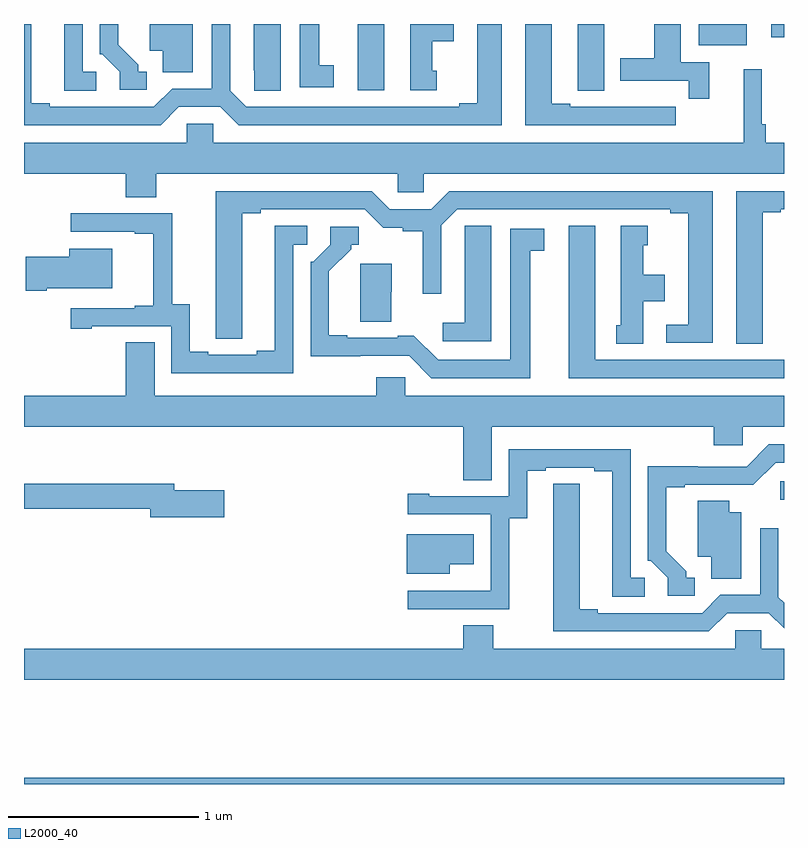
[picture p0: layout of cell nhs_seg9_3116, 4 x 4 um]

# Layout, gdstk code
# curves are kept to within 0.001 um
import gdstk
lib = gdstk.Library(unit=1e-6, precision=1e-09)
def R(c, l, rs):  # rectangles x0, y0, x1, y1
    for r in rs: c.add(gdstk.rectangle(r[:2], r[2:], *l))
def P(c, l, *ps):  # polygons
    for p in ps: c.add(gdstk.Polygon(p, *l))
L2000_40 = (2000, 40)

nhs_seg9_3116 = lib.new_cell('nhs_seg9_3116')
R(nhs_seg9_3116, L2000_40, [(289,1234.5,293,1234.532), (292.98,1235.996,293,1236.093), (290.756,1238.151,290.896,1238.5), (292.55,1238.387,292.804,1238.5), (292.934,1238.43,293,1238.5)])
P(nhs_seg9_3116, L2000_40, [(289.815,1238.064),(290.033,1238.064),(290.129,1237.968),(291.514,1237.968),(291.514,1238.5),(291.386,1238.5),(291.386,1238.084),(291.29,1238.084),(291.29,1238.064),(290.169,1238.064),(290.085,1238.148),(290.085,1238.5),(289.989,1238.5),(289.989,1238.16),(289.779,1238.16),(289.683,1238.064),(289.135,1238.064),(289.135,1238.084),(289.039,1238.084),(289.039,1238.5),(289,1238.5),(289,1237.968),(289.719,1237.968)],
  [(290.35,1238.5),(290.21,1238.5),(290.21,1238.257),(290.211,1238.257),(290.211,1238.149),(290.35,1238.149)],
  [(292.607,1238.298),(292.456,1238.298),(292.456,1238.5),(292.316,1238.5),(292.316,1238.319),(292.139,1238.319),(292.139,1238.202),(292.498,1238.202),(292.498,1238.106),(292.607,1238.106)],
  [(292.054,1238.5),(291.914,1238.5),(291.914,1238.257),(291.915,1238.257),(291.915,1238.149),(292.054,1238.149)],
  [(289.888,1238.5),(289.661,1238.5),(289.661,1238.36),(289.73,1238.36),(289.73,1238.245),(289.888,1238.245)],
  [(289.381,1238.25),(289.308,1238.25),(289.308,1238.5),(289.211,1238.5),(289.211,1238.149),(289.381,1238.149)],
  [(290.629,1238.282),(290.554,1238.282),(290.554,1238.5),(290.45,1238.5),(290.45,1238.166),(290.629,1238.166)],
  [(289.645,1238.25),(289.6,1238.25),(289.6,1238.285),(289.495,1238.39),(289.495,1238.5),(289.398,1238.5),(289.398,1238.34),(289.413,1238.34),(289.503,1238.25),(289.503,1238.154),(289.645,1238.154)],
  [(292.429,1238.064),(292.316,1238.064),(292.316,1238.065),(292.15,1238.065),(292.15,1238.064),(291.874,1238.064),(291.874,1238.079),(291.778,1238.079),(291.778,1238.5),(291.638,1238.5),(291.638,1237.968),(292.429,1237.968)],
  [(291.172,1238.253),(291.148,1238.253),(291.148,1238.408),(291.262,1238.408),(291.262,1238.5),(291.032,1238.5),(291.032,1238.151),(291.172,1238.151)],
  [(289.695,1237.712),(290.967,1237.712),(290.967,1237.614),(291.105,1237.614),(291.105,1237.712),(293,1237.712),(293,1237.876),(292.904,1237.876),(292.904,1237.972),(292.884,1237.972),(292.884,1238.263),(292.787,1238.263),(292.787,1237.876),(289.995,1237.876),(289.995,1237.974),(289.857,1237.974),(289.857,1237.876),(289,1237.876),(289,1237.712),(289.535,1237.712),(289.535,1237.588),(289.695,1237.588)],
  [(292.888,1237.509),(292.984,1237.509),(292.984,1237.524),(293,1237.524),(293,1237.62),(292.748,1237.62),(292.748,1236.817),(292.888,1236.817)],
  [(292.624,1237.62),(291.239,1237.62),(291.143,1237.524),(290.925,1237.524),(290.829,1237.62),(290.009,1237.62),(290.01,1236.844),(290.149,1236.844),(290.149,1237.504),(290.245,1237.504),(290.245,1237.524),(290.793,1237.524),(290.891,1237.427),(290.994,1237.427),(290.994,1237.408),(291.098,1237.408),(291.098,1237.08),(291.195,1237.08),(291.195,1237.44),(291.279,1237.524),(292.4,1237.524),(292.4,1237.504),(292.496,1237.504),(292.496,1236.918),(292.38,1236.918),(292.38,1236.822),(292.624,1236.822)],
  [(290.418,1237.338),(290.491,1237.338),(290.491,1237.439),(290.321,1237.439),(290.321,1236.779),(290.225,1236.779),(290.225,1236.759),(289.969,1236.759),(289.969,1236.774),(289.873,1236.774),(289.873,1237.025),(289.779,1237.025),(289.779,1237.503),(289.245,1237.503),(289.245,1237.407),(289.583,1237.407),(289.583,1237.395),(289.679,1237.395),(289.679,1237.018),(289.583,1237.018),(289.583,1237.005),(289.245,1237.005),(289.245,1236.897),(289.357,1236.897),(289.357,1236.909),(289.776,1236.909),(289.776,1236.663),(290.418,1236.663)],
  [(291.46,1237.439),(291.321,1237.439),(291.321,1237.331),(291.32,1237.331),(291.32,1236.928),(291.204,1236.928),(291.204,1236.831),(291.46,1236.831)],
  [(293,1236.732),(292.006,1236.732),(292.006,1237.438),(291.866,1237.438),(291.866,1236.636),(293,1236.636)],
  [(292.258,1237.04),(292.372,1237.04),(292.372,1237.18),(292.258,1237.18),(292.258,1237.335),(292.282,1237.335),(292.282,1237.438),(292.142,1237.438),(292.142,1236.915),(292.118,1236.915),(292.118,1236.817),(292.258,1236.817)],
  [(291.664,1237.306),(291.739,1237.306),(291.739,1237.422),(291.56,1237.422),(291.56,1236.732),(291.18,1236.732),(291.052,1236.86),(290.966,1236.86),(290.966,1236.849),(290.701,1236.849),(290.701,1236.862),(290.605,1236.862),(290.605,1237.198),(290.722,1237.315),(290.722,1237.338),(290.761,1237.338),(290.761,1237.434),(290.613,1237.434),(290.613,1237.338),(290.523,1237.248),(290.508,1237.248),(290.508,1236.752),(291.027,1236.753),(291.144,1236.636),(291.664,1236.636)],
  [(289.12,1237.109),(289.465,1237.109),(289.465,1237.318),(289.238,1237.318),(289.238,1237.275),(289.008,1237.275),(289.008,1237.097),(289.12,1237.097)],
  [(290.934,1237.092),(290.935,1237.092),(290.935,1237.237),(290.771,1237.237),(290.771,1236.934),(290.934,1236.934)],
  [(291.463,1236.38),(292.631,1236.38),(292.631,1236.282),(292.782,1236.282),(292.782,1236.38),(293,1236.38),(293,1236.544),(291.006,1236.544),(291.006,1236.642),(290.855,1236.642),(290.855,1236.544),(289.687,1236.544),(289.687,1236.824),(289.535,1236.824),(289.535,1236.544),(289,1236.544),(289,1236.38),(291.311,1236.38),(291.311,1236.1),(291.463,1236.1)],
  [(292.531,1235.586),(292.486,1235.586),(292.486,1235.621),(292.381,1235.726),(292.381,1236.063),(292.477,1236.063),(292.477,1236.075),(292.838,1236.074),(292.956,1236.192),(293,1236.192),(293,1236.288),(292.92,1236.288),(292.803,1236.171),(292.547,1236.171),(292.547,1236.173),(292.284,1236.173),(292.284,1235.676),(292.299,1235.676),(292.389,1235.586),(292.389,1235.49),(292.531,1235.49)],
  [(291.555,1235.899),(291.649,1235.899),(291.649,1236.15),(291.745,1236.15),(291.745,1236.165),(292.001,1236.165),(292.001,1236.145),(292.097,1236.145),(292.097,1235.485),(292.267,1235.485),(292.267,1235.586),(292.194,1235.586),(292.194,1236.261),(291.552,1236.261),(291.552,1236.015),(291.133,1236.015),(291.133,1236.028),(291.021,1236.028),(291.021,1235.919),(291.456,1235.919),(291.456,1235.518),(291.455,1235.518),(291.455,1235.517),(291.021,1235.517),(291.021,1235.421),(291.555,1235.421)],
  [(292.701,1235.4),(292.919,1235.4),(293,1235.319),(293,1235.455),(292.971,1235.484),(292.971,1235.845),(292.875,1235.845),(292.875,1235.496),(292.665,1235.496),(292.569,1235.4),(292.021,1235.4),(292.021,1235.42),(291.925,1235.42),(291.925,1236.08),(291.786,1236.08),(291.785,1235.304),(292.605,1235.304)],
  [(290.053,1236.045),(289.792,1236.045),(289.792,1236.079),(289,1236.079),(289,1235.95),(289.664,1235.95),(289.664,1235.903),(290.053,1235.903)],
  [(292.774,1235.929),(292.711,1235.929),(292.711,1235.99),(292.547,1235.99),(292.547,1235.696),(292.616,1235.696),(292.616,1235.581),(292.774,1235.581)],
  [(291.241,1235.657),(291.367,1235.657),(291.367,1235.815),(291.014,1235.815),(291.014,1235.606),(291.241,1235.606)],
  [(293,1235.212),(292.881,1235.212),(292.881,1235.31),(292.743,1235.31),(292.743,1235.212),(291.471,1235.212),(291.471,1235.336),(291.311,1235.336),(291.311,1235.212),(289,1235.212),(289,1235.048),(293,1235.048)])

lib.write_gds('nhs_seg9_3116.gds')
